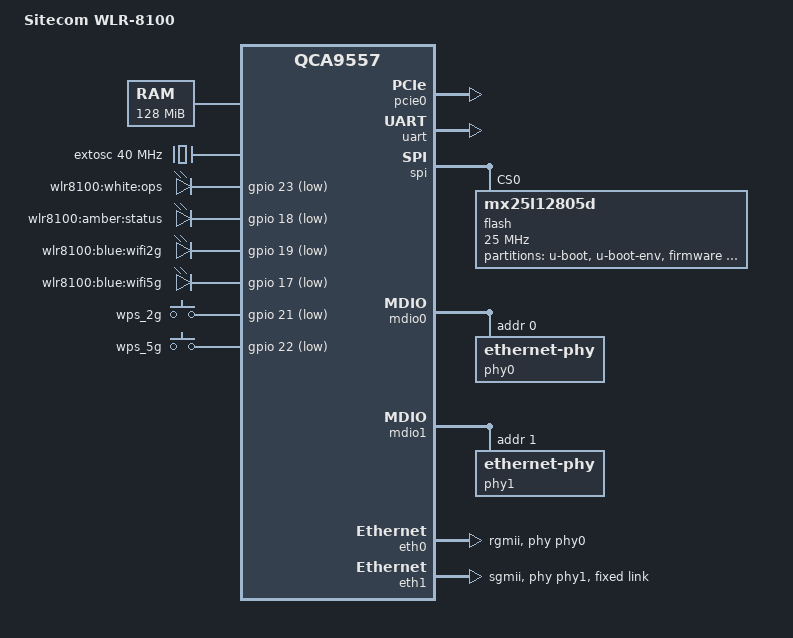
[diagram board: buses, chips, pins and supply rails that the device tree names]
// SPDX-License-Identifier: GPL-2.0-or-later OR MIT
/dts-v1/;

#include <dt-bindings/gpio/gpio.h>
#include <dt-bindings/input/input.h>

#include "qca9557.dtsi"

/ {
	compatible = "sitecom,wlr8100", "qca,qca9557";
	model = "Sitecom WLR-8100";

	memory@0 {
		device_type = "memory";
		reg = <0x0 0x8000000>;
	};

	extosc: ref {
		compatible = "fixed-clock";
		#clock-cells = <0>;
		clock-output-names = "ref";
		clock-frequency = <40000000>;
	};

	leds {
		compatible = "gpio-leds";
		
		ops_white {
			label = "wlr8100:white:ops";
			gpios = <&gpio 23 GPIO_ACTIVE_LOW>;
			default-state = "off";
		};

		status_amber {
			label = "wlr8100:amber:status";
			gpios = <&gpio 18 GPIO_ACTIVE_LOW>;
			default-state = "on";
		};

		wifi2g {
			label = "wlr8100:blue:wifi2g";
			gpios = <&gpio 19 GPIO_ACTIVE_LOW>;
			default-state = "off";
		};

		wifi5g {
			label = "wlr8100:blue:wifi5g";
			gpios = <&gpio 17 GPIO_ACTIVE_LOW>;
			default-state = "off";
		};
	};

	keys {
		compatible = "gpio-keys-polled";
		#address-cells = <1>;
		#size-cells = <0>;
		poll-interval = <20>;

		button@0 {
			label = "wps_2g";
			linux,code = <KEY_RESTART>;
			gpios = <&gpio 21 GPIO_ACTIVE_LOW>;
			debounce-interval = <60>;
		};
    
		button@1 {
			label = "wps_5g";
			linux,code = <KEY_WPS_BUTTON>;
			gpios = <&gpio 22 GPIO_ACTIVE_LOW>;
			debounce-interval = <60>;
		};
	};
  
};

&pcie0 {
	status = "okay";
};

&uart {
	status = "okay";
};

&pll {
	clocks = <&extosc>;
};

&spi {
	status = "okay";
	num-cs = <1>;

	flash@0 {
		#address-cells = <1>;
		#size-cells = <1>;
		compatible = "mx25l12805d";
		reg = <0>;
		spi-max-frequency = <25000000>;

		partitions {
			compatible = "fixed-partitions";
			#address-cells = <1>;
			#size-cells = <1>;

			partition@0 {
				label = "u-boot";
				reg = <0x000000 0x030000>;
				read-only;
			};

			factory: partition@1 {
				label = "u-boot-env";
				reg = <0x030000 0x010000>;
				read-only;
			};

			partition@2 {
				label = "firmware";
				reg = <0x040000 0xf10000>;
			};      

			partition@3 {
				label = "manufacture";
				reg = <0xf50000 0x040000>;
				read-only;
			};

			partition@4 {
				label = "backup";
				reg = <0xf90000 0x010000>;
				read-only;
			};

			partition@5 {
				label = "storage";
				reg = <0xfa0000 0x050000>;
				read-only;
			};
      
			partition@6 {
				label = "art";
				reg = <0xff0000 0x010000>;
				read-only;
			};
		};
	};
};

&mdio0 {
        status = "okay";

		phy0: ethernet-phy@0 {
			reg = <0>;
			phy-mode = "rgmii";

			qca,ar8327-initvals = <
				0x04 0x87600000 /* PORT0 PAD MODE CTRL */
				0x0c 0x01000080 /* PORT6 PAD MODE CTRL */
				0x10 0x40000000 /* Power-on Strapping: 176-pin interface configuration */
				0x50 0xc437c437 /* LED Control Register 0 */
				0x54 0xc337c337 /* LED Control Register 1 */
				0x58 0x00000000 /* LED Control Register 2 */
				0x5c 0x03ffff00 /* LED Control Register 3 */
				0x7c 0x0000007e /* PORT0_STATUS */
				0x94 0x0000007e /* PORT6 STATUS */
			>;
		};
};

&mdio1 {
  status = "okay";
		
  phy1: ethernet-phy@1 {
    reg = <1>;
    phy-mode = "sgmii";
  };
};

&eth0 {
	status = "okay";

	phy-handle = <&phy0>;
	phy-mode = "rgmii";
};

&eth1 {
	status = "okay";
  
	phy-mode = "sgmii";
	phy-handle = <&phy1>;

	fixed-link {
		speed = <1000>;
		full-duplex;
	};
  
};
